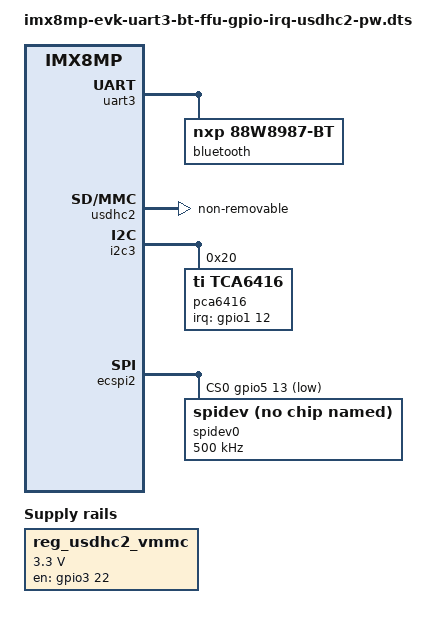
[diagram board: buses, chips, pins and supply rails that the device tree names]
// SPDX-License-Identifier: (GPL-2.0 OR MIT)
/*
 * Copyright 2024 NXP
 */

/dts-v1/;
#include "imx8mp-evk.dts"
&uart1 {
        /delete-node/ bluetooth;
};

&uart3 {
        bluetooth {
                compatible = "nxp,88w8987-bt";
        };
};

&reg_usdhc2_vmmc {
	compatible = "regulator-fixed";
	pinctrl-names = "default";
	pinctrl-0 = <&pinctrl_reg_usdhc2_vmmc>;
	regulator-name = "VSD_3V3";
	regulator-min-microvolt = <3300000>;
	regulator-max-microvolt = <3300000>;
	gpio = <&gpio3 22 GPIO_ACTIVE_HIGH>;
	off-on-delay-us = <20000>;
	enable-active-high;
};


&pinctrl_usdhc2 {
	fsl,pins = <
		MX8MP_IOMUXC_SD2_CLK__USDHC2_CLK		0x190
		MX8MP_IOMUXC_SD2_CMD__USDHC2_CMD		0x1d0
		MX8MP_IOMUXC_SD2_DATA0__USDHC2_DATA0	0x1d0
		MX8MP_IOMUXC_SD2_DATA1__USDHC2_DATA1	0x1d0
		MX8MP_IOMUXC_SD2_DATA2__USDHC2_DATA2	0x1d0
		MX8MP_IOMUXC_SD2_DATA3__USDHC2_DATA3	0x1d0
		MX8MP_IOMUXC_GPIO1_IO04__GPIO1_IO04	0x1d0
	>;
};

&pinctrl_usdhc2_100mhz {
	fsl,pins = <
		MX8MP_IOMUXC_SD2_CLK__USDHC2_CLK		0x194
		MX8MP_IOMUXC_SD2_CMD__USDHC2_CMD		0x1d4
		MX8MP_IOMUXC_SD2_DATA0__USDHC2_DATA0	0x1d4
		MX8MP_IOMUXC_SD2_DATA1__USDHC2_DATA1	0x1d4
		MX8MP_IOMUXC_SD2_DATA2__USDHC2_DATA2	0x1d4
		MX8MP_IOMUXC_SD2_DATA3__USDHC2_DATA3	0x1d4
		MX8MP_IOMUXC_GPIO1_IO04__GPIO1_IO04	0x1d0
	>;
};

&pinctrl_usdhc2_200mhz {
	fsl,pins = <
		MX8MP_IOMUXC_SD2_CLK__USDHC2_CLK		0x196
		MX8MP_IOMUXC_SD2_CMD__USDHC2_CMD		0x1d6
		MX8MP_IOMUXC_SD2_DATA0__USDHC2_DATA0	0x1d6
		MX8MP_IOMUXC_SD2_DATA1__USDHC2_DATA1	0x1d6
		MX8MP_IOMUXC_SD2_DATA2__USDHC2_DATA2	0x1d6
		MX8MP_IOMUXC_SD2_DATA3__USDHC2_DATA3	0x1d6
		MX8MP_IOMUXC_GPIO1_IO04__GPIO1_IO04	0x1d0
	>;
};

&pinctrl_reg_usdhc2_vmmc {
	fsl,pins = <
		MX8MP_IOMUXC_SAI5_RXD1__GPIO3_IO22   0x41
	>;
};

&usdhc2 {
	pinctrl-assert-gpios = <&gpio1 4 GPIO_ACTIVE_HIGH>;
	/delete-property/ cd-gpios;
	keep-power-in-suspend;
	non-removable;
	wakeup-source;
	fsl,sdio-async-interrupt-enabled;
};

&usdhc1 {
	status = "disabled";
	/delete-node/ wifi_wake_host;
};

&micfil {
   status = "disabled";
};

&i2c3 {
	pca6416: gpio@20 {
		compatible = "ti,tca6416";
		reg = <0x20>;
		gpio-controller;
		#gpio-cells = <2>;
		interrupt-parent = <&gpio1>;
		interrupts = <12 IRQ_TYPE_EDGE_FALLING>;
		pinctrl-names = "default";
		pinctrl-0 = <&pinctrl_pca6416_irq>;
	};
};

&ecspi2 {
	#address-cells = <1>;
	#size-cells = <0>;
	fsl,spi-num-chipselects = <1>;
	pinctrl-names = "default";
	pinctrl-0 = <&pinctrl_espi2>;
	cs-gpios = <&gpio5 13 GPIO_ACTIVE_LOW>;
	status = "okay";

	spidev0: spi@0 {
		reg = <0>;
		compatible = "rohm,dh2228fv";
		spi-max-frequency = <500000>;
	};

};

&iomuxc {
	pinctrl_pca6416_irq: pca6416irq {
		fsl,pins = <
			MX8MP_IOMUXC_GPIO1_IO12__GPIO1_IO12		0x141
		>;
	};

	pinctrl_espi2: espi2grp {
		fsl,pins = <
			MX8MP_IOMUXC_ECSPI2_SCLK__ECSPI2_SCLK		0x082
			MX8MP_IOMUXC_ECSPI2_MOSI__ECSPI2_MOSI		0x082
			MX8MP_IOMUXC_ECSPI2_MISO__ECSPI2_MISO		0x082
			MX8MP_IOMUXC_ECSPI2_SS0__GPIO5_IO13		0x000
		>;
	};
};
